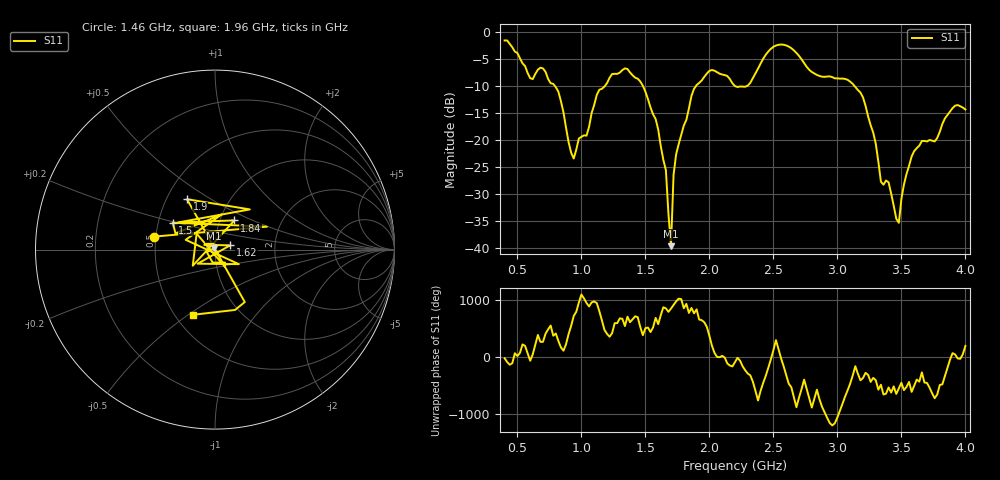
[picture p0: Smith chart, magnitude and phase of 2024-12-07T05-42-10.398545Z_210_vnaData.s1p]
!Created with skrf (http://scikit-rf.org).
# Hz S RI R 50.0
!freq ReS11 ImS11
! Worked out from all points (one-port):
!   181 points, 400 MHz to 4 GHz, reference 50 ohm
!   lowest |S11| = -39.7 dB at 1.7 GHz (marker M1), VSWR 1.02, Z = 49.3 + j0.757 ohm
!   |S11| at or under -10 dB: 791.7 MHz to 1.185 GHz (393.2 MHz wide, 39.8 % of centre); 1.48 GHz to 1.896 GHz (416.1 MHz wide, 24.6 % of centre); 3.132 GHz to end of sweep (the widest 3 of 4)
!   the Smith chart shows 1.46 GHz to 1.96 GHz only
!   S11 on the Smith chart (normalised r, x): 1.46 GHz: 0.49, +0.08; 1.5 GHz: 0.60, +0.19; 1.62 GHz: 1.18, +0.06; 1.84 GHz: 1.17, +0.40; 1.9 GHz: 0.63, +0.40; 1.96 GHz: 0.62, -0.52
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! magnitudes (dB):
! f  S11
! 400 MHz  -1.6
! 600 MHz  -8.6
! 700 MHz  -6.8
! 860 MHz  -14.9
! 940 MHz  -23.5
! 1.14 GHz  -10.7
! 1.3 GHz  -7.6
! 1.46 GHz  -9.2
! 1.5 GHz  -11.1
! 1.62 GHz  -21.1
! 1.66 GHz  -25.6
! 1.7 GHz  -39.7
! 1.72 GHz  -26.5
! 1.76 GHz  -20.8
! 1.84 GHz  -14.2
! 1.9 GHz  -9.9
! 1.96 GHz  -8.3
! 2.2 GHz  -10.1
! 2.5 GHz  -2.8
! 2.66 GHz  -3.5
! 3.1 GHz  -9.2
! 3.2 GHz  -12.1
! 3.34 GHz  -27.7
! 3.4 GHz  -27.9
! 3.48 GHz  -35.3
! 3.56 GHz  -24.8
! 3.9 GHz  -14.1
! 4 GHz  -14.4
